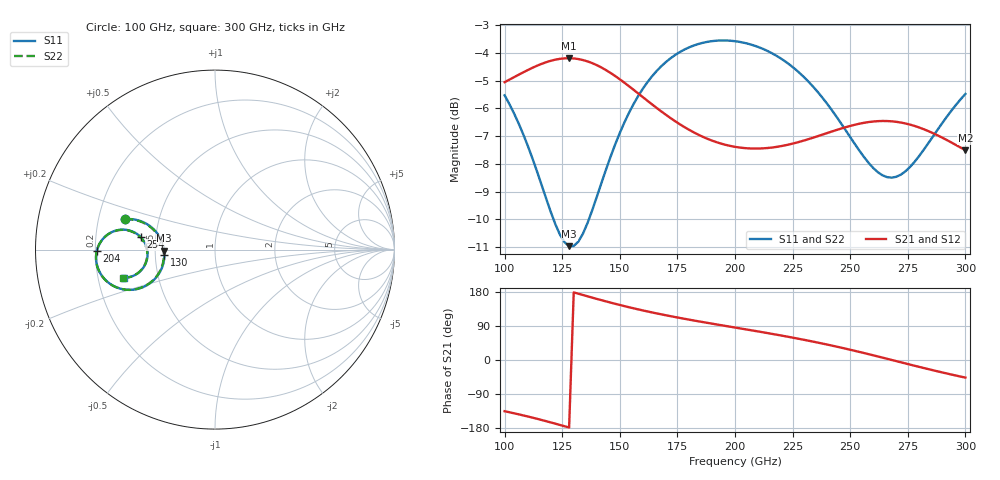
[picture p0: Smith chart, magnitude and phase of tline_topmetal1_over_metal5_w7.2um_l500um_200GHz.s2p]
#  GHZ S DB R 50
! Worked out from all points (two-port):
!   101 points, 100 GHz to 300 GHz, reference 50 ohm
!   highest |S21| = -4.19 dB at 128 GHz (marker M1); lowest = -7.5 dB at 300 GHz (marker M2)
!   |S21| within 3 dB of the highest: start of sweep to 191.1 GHz; 228.6 GHz to 293.1 GHz (64.51 GHz wide, 24.7 % of centre)
!   lowest |S11| = -11.0 dB at 128 GHz (marker M3), VSWR 1.79, Z = 27.9 - j0.355 ohm
!   |S11| at or under -10 dB: 121.2 GHz to 136.6 GHz (15.33 GHz wide, 11.9 % of centre)
!   |S22| runs from -10.9 to -3.5 dB; largest |S21 - S12| = 7e-14
!   S11 on the Smith chart (normalised r, x): 100 GHz: 0.32, +0.15; 130 GHz: 0.56, -0.04; 204 GHz: 0.21, -0.00; 254 GHz: 0.41, +0.07; 300 GHz: 0.31, -0.14
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100  -5.53 161.3  -5.05 -135.2  -5.05 -135.2  -5.51 161.5
108  -6.92 159.1  -4.70 -146.1  -4.70 -146.1  -6.89 159.4
114  -8.26 160.1  -4.46 -155.1  -4.46 -155.1  -8.21 160.4
122  -10.17 168.4  -4.24 -168.0  -4.24 -168.0  -10.10 168.7
128  -10.97 -178.8  -4.19 -178.2  -4.19 -178.2  -10.88 -178.7
130  -10.96 -173.9  -4.20 178.4  -4.20 178.4  -10.87 -173.9
134  -10.52 -164.9  -4.26 171.5  -4.26 171.5  -10.44 -165.0
142  -8.69 -154.3  -4.52 157.9  -4.52 157.9  -8.65 -154.5
150  -6.89 -152.4  -4.95 145.2  -4.95 145.2  -6.86 -152.6
158  -5.55 -154.8  -5.46 133.6  -5.46 133.6  -5.53 -154.9
168  -4.48 -159.9  -6.11 120.5  -6.11 120.5  -4.47 -160.0
184  -3.68 -168.9  -6.94 102.3  -6.94 102.3  -3.67 -168.9
200  -3.58 -177.4  -7.39 85.7  -7.39 85.7  -3.57 -177.4
204  -3.63 -179.4  -7.43 81.6  -7.43 81.6  -3.63 -179.4
218  -4.10 174.1  -7.39 66.8  -7.39 66.8  -4.09 174.2
234  -5.22 168.5  -7.05 48.3  -7.05 48.3  -5.21 168.6
244  -6.29 167.4  -6.78 35.4  -6.78 35.4  -6.27 167.6
254  -7.52 170.4  -6.55 21.3  -6.55 21.3  -7.49 170.5
268  -8.50 -177.0  -6.47 0.1  -6.47 0.1  -8.45 -176.9
276  -8.11 -168.8  -6.58 -12.2  -6.58 -12.2  -8.07 -168.8
286  -7.00 -163.1  -6.90 -27.1  -6.90 -27.1  -6.97 -163.1
300  -5.48 -162.9  -7.51 -46.5  -7.51 -46.5  -5.46 -162.9
